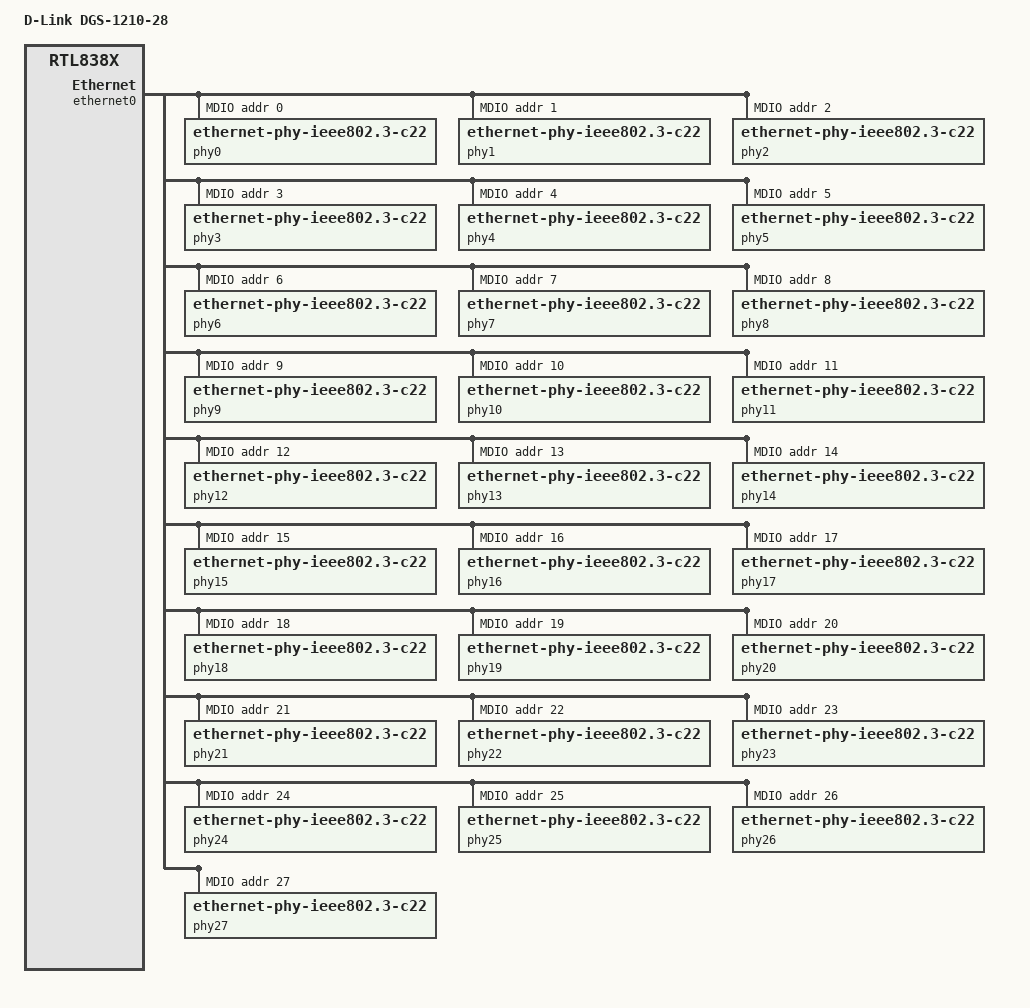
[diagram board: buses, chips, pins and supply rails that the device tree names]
// SPDX-License-Identifier: GPL-2.0-or-later OR MIT

#include "rtl8382_d-link_dgs-1210.dtsi"

/ {
	compatible = "d-link,dgs-1210-28", "realtek,rtl838x-soc";
	model = "D-Link DGS-1210-28";
};

&ethernet0 {
	mdio: mdio-bus {
		compatible = "realtek,rtl838x-mdio";
		regmap = <&ethernet0>;
		#address-cells = <1>;
		#size-cells = <0>;

		/* External phy RTL8218B */
		phy0: ethernet-phy@0 {
			reg = <0>;
			compatible = "ethernet-phy-ieee802.3-c22";
		};
		phy1: ethernet-phy@1 {
			reg = <1>;
			compatible = "ethernet-phy-ieee802.3-c22";
		};
		phy2: ethernet-phy@2 {
			reg = <2>;
			compatible = "ethernet-phy-ieee802.3-c22";
		};
		phy3: ethernet-phy@3 {
			reg = <3>;
			compatible = "ethernet-phy-ieee802.3-c22";
		};
		phy4: ethernet-phy@4 {
			reg = <4>;
			compatible = "ethernet-phy-ieee802.3-c22";
		};
		phy5: ethernet-phy@5 {
			reg = <5>;
			compatible = "ethernet-phy-ieee802.3-c22";
		};
		phy6: ethernet-phy@6 {
			reg = <6>;
			compatible = "ethernet-phy-ieee802.3-c22";
		};
		phy7: ethernet-phy@7 {
			reg = <7>;
			compatible = "ethernet-phy-ieee802.3-c22";
		};

		/* Internal phy RTL8218B */
		phy8: ethernet-phy@8 {
			reg = <8>;
			compatible = "ethernet-phy-ieee802.3-c22";
			phy-is-integrated;
		};
		phy9: ethernet-phy@9 {
			reg = <9>;
			compatible = "ethernet-phy-ieee802.3-c22";
			phy-is-integrated;
		};
		phy10: ethernet-phy@10 {
			reg = <10>;
			compatible = "ethernet-phy-ieee802.3-c22";
			phy-is-integrated;
		};
		phy11: ethernet-phy@11 {
			reg = <11>;
			compatible = "ethernet-phy-ieee802.3-c22";
			phy-is-integrated;
		};
		phy12: ethernet-phy@12 {
			reg = <12>;
			compatible = "ethernet-phy-ieee802.3-c22";
			phy-is-integrated;
		};
		phy13: ethernet-phy@13 {
			reg = <13>;
			compatible = "ethernet-phy-ieee802.3-c22";
			phy-is-integrated;
		};
		phy14: ethernet-phy@14 {
			reg = <14>;
			compatible = "ethernet-phy-ieee802.3-c22";
			phy-is-integrated;
		};
		phy15: ethernet-phy@15 {
			reg = <15>;
			compatible = "ethernet-phy-ieee802.3-c22";
			phy-is-integrated;
		};

		/* External phy RTL8218B */
		phy16: ethernet-phy@16 {
			reg = <16>;
			compatible = "ethernet-phy-ieee802.3-c22";
		};
		phy17: ethernet-phy@17 {
			reg = <17>;
			compatible = "ethernet-phy-ieee802.3-c22";
		};
		phy18: ethernet-phy@18 {
			reg = <18>;
			compatible = "ethernet-phy-ieee802.3-c22";
		};
		phy19: ethernet-phy@19 {
			reg = <19>;
			compatible = "ethernet-phy-ieee802.3-c22";
		};
		phy20: ethernet-phy@20 {
			reg = <20>;
			compatible = "ethernet-phy-ieee802.3-c22";
		};
		phy21: ethernet-phy@21 {
			reg = <21>;
			compatible = "ethernet-phy-ieee802.3-c22";
		};
		phy22: ethernet-phy@22 {
			reg = <22>;
			compatible = "ethernet-phy-ieee802.3-c22";
		};
		phy23: ethernet-phy@23 {
			reg = <23>;
			compatible = "ethernet-phy-ieee802.3-c22";
		};

		/* External phy: RTL8214FC */
		phy24: ethernet-phy@24 {
			compatible = "ethernet-phy-ieee802.3-c22";
			sfp;
			media = "fibre";
			reg = <24>;
		};
		phy25: ethernet-phy@25 {
			compatible = "ethernet-phy-ieee802.3-c22";
			sfp;
			media = "fibre";
			reg = <25>;
		};
		phy26: ethernet-phy@26 {
			compatible = "ethernet-phy-ieee802.3-c22";
			sfp;
			media = "fibre";
			reg = <26>;
		};
		phy27: ethernet-phy@27 {
			compatible = "ethernet-phy-ieee802.3-c22";
			sfp;
			media = "fibre";
			reg = <27>;
		};
	};
};

&switch0 {
	ports {
		#address-cells = <1>;
		#size-cells = <0>;

		port@0 {
			reg = <0>;
			label = "lan1";
			phy-handle = <&phy0>;
			phy-mode = "qsgmii";
		};
		port@1 {
			reg = <1>;
			label = "lan2";
			phy-handle = <&phy1>;
			phy-mode = "qsgmii";
		};
		port@2 {
			reg = <2>;
			label = "lan3";
			phy-handle = <&phy2>;
			phy-mode = "qsgmii";
		};
		port@3 {
			reg = <3>;
			label = "lan4";
			phy-handle = <&phy3>;
			phy-mode = "qsgmii";
		};
		port@4 {
			reg = <4>;
			label = "lan5";
			phy-handle = <&phy4>;
			phy-mode = "qsgmii";
		};
		port@5 {
			reg = <5>;
			label = "lan6";
			phy-handle = <&phy5>;
			phy-mode = "qsgmii";
		};
		port@6 {
			reg = <6>;
			label = "lan7";
			phy-handle = <&phy6>;
			phy-mode = "qsgmii";
		};
		port@7 {
			reg = <7>;
			label = "lan8";
			phy-handle = <&phy7>;
			phy-mode = "qsgmii";
		};
		port@8 {
			reg = <8>;
			label = "lan9";
			phy-handle = <&phy8>;
			phy-mode = "internal";
		};
		port@9 {
			reg = <9>;
			label = "lan10";
			phy-handle = <&phy9>;
			phy-mode = "internal";
		};
		port@10 {
			reg = <10>;
			label = "lan11";
			phy-handle = <&phy10>;
			phy-mode = "internal";
		};
		port@11 {
			reg = <11>;
			label = "lan12";
			phy-handle = <&phy11>;
			phy-mode = "internal";
		};
		port@12 {
			reg = <12>;
			label = "lan13";
			phy-handle = <&phy12>;
			phy-mode = "internal";
		};
		port@13 {
			reg = <13>;
			label = "lan14";
			phy-handle = <&phy13>;
			phy-mode = "internal";
		};
		port@14 {
			reg = <14>;
			label = "lan15";
			phy-handle = <&phy14>;
			phy-mode = "internal";
		};
		port@15 {
			reg = <15>;
			label = "lan16";
			phy-handle = <&phy15>;
			phy-mode = "internal";
		};
		port@16 {
			reg = <16>;
			label = "lan17";
			phy-handle = <&phy16>;
			phy-mode = "qsgmii";
		};
		port@17 {
			reg = <17>;
			label = "lan18";
			phy-handle = <&phy17>;
			phy-mode = "qsgmii";
		};
		port@18 {
			reg = <18>;
			label = "lan19";
			phy-handle = <&phy18>;
			phy-mode = "qsgmii";
		};
		port@19 {
			reg = <19>;
			label = "lan20";
			phy-handle = <&phy19>;
			phy-mode = "qsgmii";
		};
		port@20 {
			reg = <20>;
			label = "lan21";
			phy-handle = <&phy20>;
			phy-mode = "qsgmii";
		};
		port@21 {
			reg = <21>;
			label = "lan22";
			phy-handle = <&phy21>;
			phy-mode = "qsgmii";
		};
		port@22 {
			reg = <22>;
			label = "lan23";
			phy-handle = <&phy22>;
			phy-mode = "qsgmii";
		};
		port@23 {
			reg = <23>;
			label = "lan24";
			phy-handle = <&phy23>;
			phy-mode = "qsgmii";
		};

		port@24 {
			reg = <24>;
			label = "lan25";
			phy-handle = <&phy24>;
			phy-mode = "qsgmii";
		};
		port@25 {
			reg = <25>;
			label = "lan26";
			phy-handle = <&phy25>;
			phy-mode = "qsgmii";
		};
		port@26 {
			reg = <26>;
			label = "lan27";
			phy-handle = <&phy26>;
			phy-mode = "qsgmii";
		};
		port@27 {
			reg = <27>;
			label = "lan28";
			phy-handle = <&phy27>;
			phy-mode = "qsgmii";
		};
		port@28 {
			ethernet = <&ethernet0>;
			reg = <28>;
			phy-mode = "internal";
			fixed-link {
				speed = <1000>;
				full-duplex;
			};
		};
	};
};
